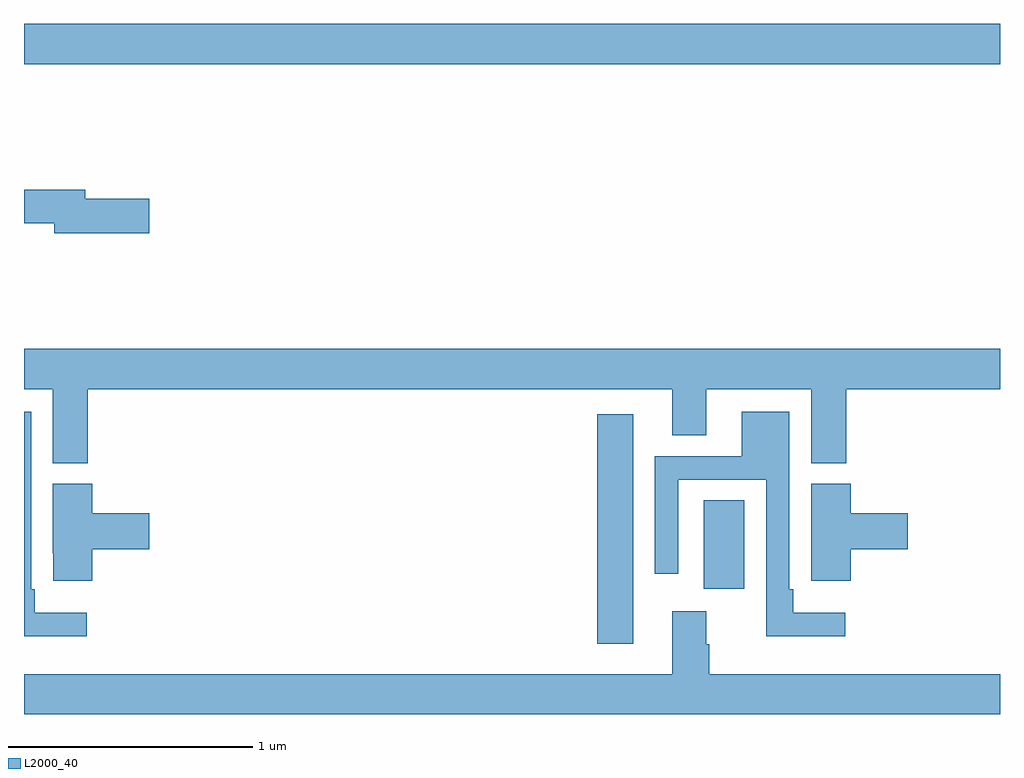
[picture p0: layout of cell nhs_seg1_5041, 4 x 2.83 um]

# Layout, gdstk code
import gdstk
lib = gdstk.Library(unit=1e-6, precision=1e-09)
def R(c, l, rs):  # rectangles x0, y0, x1, y1
    for r in rs: c.add(gdstk.rectangle(r[:2], r[2:], *l))
def P(c, l, *ps):  # polygons
    for p in ps: c.add(gdstk.Polygon(p, *l))
L2000_40 = (2000, 40)

nhs_seg1_5041 = lib.new_cell('nhs_seg1_5041')
R(nhs_seg1_5041, L2000_40, [(387.35,513.393,387.496,514.333), (387.785,513.618,387.952,513.98), (385,515.768,389,515.932)])
P(nhs_seg1_5041, L2000_40, [(385.513,515.216),(385.252,515.216),(385.252,515.252),(385,515.252),(385,515.116),(385.124,515.116),(385.124,515.074),(385.513,515.074)],
  [(385,514.436),(385.118,514.436),(385.118,514.132),(385.262,514.132),(385.262,514.436),(387.656,514.436),(387.656,514.246),(387.796,514.246),(387.796,514.436),(388.226,514.436),(388.226,514.132),(388.37,514.132),(388.37,514.436),(389,514.436),(389,514.6),(385,514.6)],
  [(385.258,513.52),(385.045,513.52),(385.045,513.616),(385.029,513.616),(385.029,514.342),(385,514.342),(385,513.422),(385.258,513.422)],
  [(388.366,513.52),(388.153,513.52),(388.153,513.616),(388.137,513.616),(388.137,514.342),(387.941,514.342),(387.941,514.161),(387.585,514.161),(387.585,513.678),(387.681,513.678),(387.681,514.065),(388.041,514.065),(388.041,513.422),(388.366,513.422)],
  [(385.28,513.779),(385.513,513.779),(385.513,513.926),(385.28,513.926),(385.28,514.047),(385.118,514.047),(385.118,513.763),(385.119,513.763),(385.119,513.651),(385.28,513.651)],
  [(388.388,513.779),(388.621,513.779),(388.621,513.926),(388.388,513.926),(388.388,514.047),(388.226,514.047),(388.226,513.763),(388.227,513.763),(388.227,513.651),(388.388,513.651)],
  [(389,513.268),(387.809,513.268),(387.809,513.389),(387.796,513.389),(387.796,513.526),(387.656,513.526),(387.656,513.268),(385,513.268),(385,513.104),(389,513.104)])

lib.write_gds('nhs_seg1_5041.gds')
